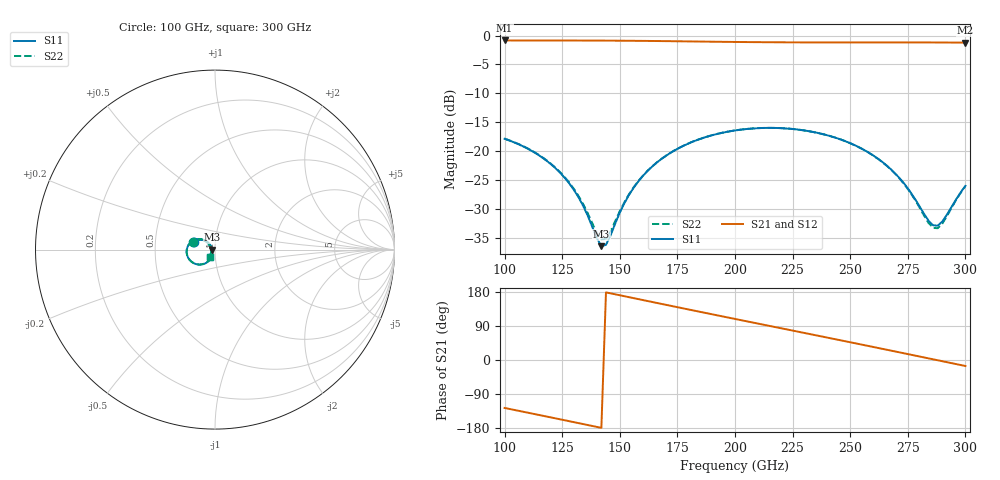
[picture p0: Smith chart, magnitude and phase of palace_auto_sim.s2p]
#  GHZ S DB R 50
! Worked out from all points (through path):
!   101 points, 100 GHz to 300 GHz, reference 50 ohm
!   highest |S21| = -0.85 dB at 100 GHz (marker M1); lowest = -1.2 dB at 300 GHz (marker M2)
!   group delay of S21, straight-line fit = 3.46 ps
!   lowest |S11| = -36.5 dB at 142 GHz (marker M3), VSWR 1.03, Z = 48.5 + j0.00405 ohm
!   |S11| at or under -10 dB: start of sweep to end of sweep
!   |S22| runs from -35.3 to -16.0 dB; largest |S21 - S12| = 1.1e-14
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100  -17.90 159.6  -0.85 -126.5  -0.85 -126.5  -17.86 160.5
110  -19.60 148.4  -0.85 -138.9  -0.85 -138.9  -19.54 149.6
120  -22.25 138.7  -0.86 -151.4  -0.86 -151.4  -22.17 140.3
128  -25.58 133.9  -0.86 -161.4  -0.86 -161.4  -25.43 136.2
134  -29.43 136.0  -0.86 -169.0  -0.86 -169.0  -29.12 139.1
142  -36.49 179.8  -0.87 -179.1  -0.87 -179.1  -35.34 -179.5
144  -36.26 -156.1  -0.88 178.4  -0.88 178.4  -35.22 -158.6
152  -29.03 -117.2  -0.90 168.3  -0.90 168.3  -28.85 -120.0
156  -26.37 -115.4  -0.91 163.3  -0.91 163.3  -26.28 -117.5
162  -23.48 -117.7  -0.93 155.7  -0.93 155.7  -23.44 -119.1
168  -21.40 -122.4  -0.95 148.2  -0.95 148.2  -21.38 -123.4
182  -18.33 -136.4  -1.02 130.6  -1.02 130.6  -18.32 -136.9
200  -16.44 -156.0  -1.11 108.4  -1.11 108.4  -16.43 -156.2
216  -15.99 -173.6  -1.16 88.7  -1.16 88.7  -15.99 -173.7
234  -16.71 166.9  -1.19 66.6  -1.19 66.6  -16.71 166.9
254  -19.39 147.0  -1.19 41.9  -1.19 41.9  -19.40 147.0
268  -23.29 137.5  -1.18 24.4  -1.18 24.4  -23.33 137.3
274  -25.94 137.7  -1.19 16.9  -1.19 16.9  -26.03 137.2
286  -32.87 177.0  -1.20 1.8  -1.20 1.8  -33.33 177.6
288  -32.93 -167.6  -1.20 -0.7  -1.20 -0.7  -33.37 -166.0
290  -32.21 -153.5  -1.20 -3.2  -1.20 -3.2  -32.56 -151.2
300  -26.03 -126.3  -1.23 -15.8  -1.23 -15.8  -26.08 -124.0
